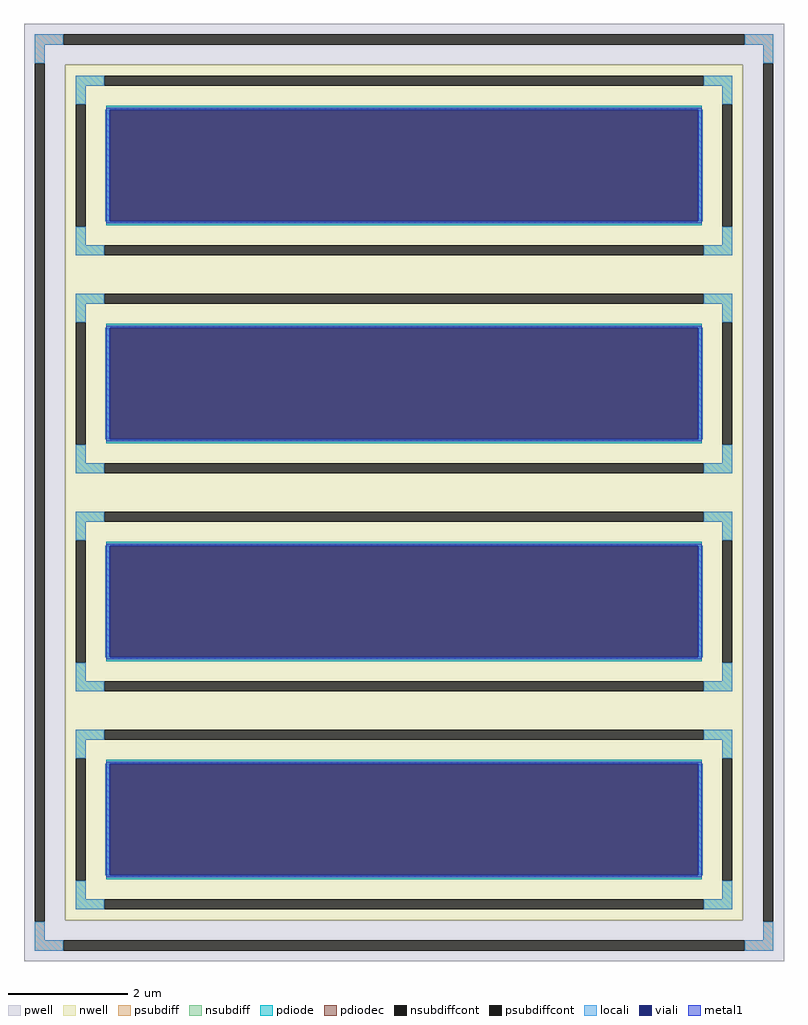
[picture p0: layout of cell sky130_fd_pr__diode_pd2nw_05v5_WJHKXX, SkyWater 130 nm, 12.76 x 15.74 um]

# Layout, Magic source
magic
tech sky130B
<< nwell >>
rect -569 -718 569 718
<< pwell >>
rect -638 718 638 787
rect -638 -718 -569 718
rect 569 -718 638 718
rect -638 -787 638 -718
<< psubdiff >>
rect -620 752 -572 769
rect 572 752 620 769
rect -620 721 -603 752
rect 603 721 620 752
rect -620 -752 -603 -721
rect 603 -752 620 -721
rect -620 -769 -572 -752
rect 572 -769 620 -752
<< nsubdiff >>
rect -551 683 -503 700
rect 503 683 551 700
rect -551 652 -534 683
rect 534 652 551 683
rect -551 415 -534 446
rect 534 415 551 446
rect -551 398 -503 415
rect 503 398 551 415
rect -551 317 -503 334
rect 503 317 551 334
rect -551 286 -534 317
rect 534 286 551 317
rect -551 49 -534 80
rect 534 49 551 80
rect -551 32 -503 49
rect 503 32 551 49
rect -551 -49 -503 -32
rect 503 -49 551 -32
rect -551 -80 -534 -49
rect 534 -80 551 -49
rect -551 -317 -534 -286
rect 534 -317 551 -286
rect -551 -334 -503 -317
rect 503 -334 551 -317
rect -551 -415 -503 -398
rect 503 -415 551 -398
rect -551 -446 -534 -415
rect 534 -446 551 -415
rect -551 -683 -534 -652
rect 534 -683 551 -652
rect -551 -700 -503 -683
rect 503 -700 551 -683
<< psubdiffcont >>
rect -572 752 572 769
rect -620 -721 -603 721
rect 603 -721 620 721
rect -572 -769 572 -752
<< nsubdiffcont >>
rect -503 683 503 700
rect -551 446 -534 652
rect 534 446 551 652
rect -503 398 503 415
rect -503 317 503 334
rect -551 80 -534 286
rect 534 80 551 286
rect -503 32 503 49
rect -503 -49 503 -32
rect -551 -286 -534 -80
rect 534 -286 551 -80
rect -503 -334 503 -317
rect -503 -415 503 -398
rect -551 -652 -534 -446
rect 534 -652 551 -446
rect -503 -700 503 -683
<< pdiode >>
rect -500 643 500 649
rect -500 455 -494 643
rect 494 455 500 643
rect -500 449 500 455
rect -500 277 500 283
rect -500 89 -494 277
rect 494 89 500 277
rect -500 83 500 89
rect -500 -89 500 -83
rect -500 -277 -494 -89
rect 494 -277 500 -89
rect -500 -283 500 -277
rect -500 -455 500 -449
rect -500 -643 -494 -455
rect 494 -643 500 -455
rect -500 -649 500 -643
<< pdiodec >>
rect -494 455 494 643
rect -494 89 494 277
rect -494 -277 494 -89
rect -494 -643 494 -455
<< locali >>
rect -620 752 -572 769
rect 572 752 620 769
rect -620 721 -603 752
rect 603 721 620 752
rect -551 683 -503 700
rect 503 683 551 700
rect -551 652 -534 683
rect 534 652 551 683
rect -502 455 -494 643
rect 494 455 502 643
rect -551 415 -534 446
rect 534 415 551 446
rect -551 398 -503 415
rect 503 398 551 415
rect -551 317 -503 334
rect 503 317 551 334
rect -551 286 -534 317
rect 534 286 551 317
rect -502 89 -494 277
rect 494 89 502 277
rect -551 49 -534 80
rect 534 49 551 80
rect -551 32 -503 49
rect 503 32 551 49
rect -551 -49 -503 -32
rect 503 -49 551 -32
rect -551 -80 -534 -49
rect 534 -80 551 -49
rect -502 -277 -494 -89
rect 494 -277 502 -89
rect -551 -317 -534 -286
rect 534 -317 551 -286
rect -551 -334 -503 -317
rect 503 -334 551 -317
rect -551 -415 -503 -398
rect 503 -415 551 -398
rect -551 -446 -534 -415
rect 534 -446 551 -415
rect -502 -643 -494 -455
rect 494 -643 502 -455
rect -551 -683 -534 -652
rect 534 -683 551 -652
rect -551 -700 -503 -683
rect 503 -700 551 -683
rect -620 -752 -603 -721
rect 603 -752 620 -721
rect -620 -769 -572 -752
rect 572 -769 620 -752
<< viali >>
rect -494 455 494 643
rect -494 89 494 277
rect -494 -277 494 -89
rect -494 -643 494 -455
<< metal1 >>
rect -500 643 500 646
rect -500 455 -494 643
rect 494 455 500 643
rect -500 452 500 455
rect -500 277 500 280
rect -500 89 -494 277
rect 494 89 500 277
rect -500 86 500 89
rect -500 -89 500 -86
rect -500 -277 -494 -89
rect 494 -277 500 -89
rect -500 -280 500 -277
rect -500 -455 500 -452
rect -500 -643 -494 -455
rect 494 -643 500 -455
rect -500 -646 500 -643
<< properties >>
string FIXED_BBOX -542 406 542 691
string gencell sky130_fd_pr__diode_pd2nw_05v5
string library sky130
string parameters w 10 l 2 area 20.0 peri 24.0 nx 1 ny 4 dummy 0 lmin 0.45 wmin 0.45 elc 1 erc 1 etc 1 ebc 1 glc 1 grc 1 gtc 1 gbc 1 doverlap 0 compatible {sky130_fd_pr__diode_pd2nw_05v5 sky130_fd_pr__diode_pd2nw_05v5_lvt  sky130_fd_pr__diode_pd2nw_05v5_hvt sky130_fd_pr__diode_pd2nw_11v0} full_metal 1 vias 1 viagb 0 viagt 0 viagl 0 viagr 0
<< end >>
